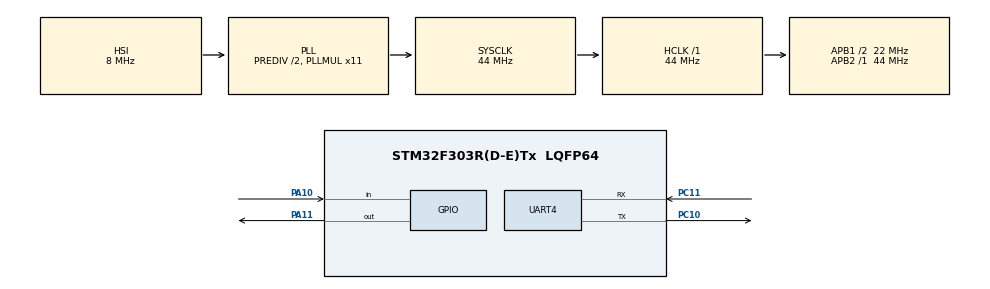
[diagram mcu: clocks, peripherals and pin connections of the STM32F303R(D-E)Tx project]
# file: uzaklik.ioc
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Mcu.Family=STM32F3
Mcu.Name=STM32F303R(D-E)Tx
Mcu.Package=LQFP64
NVIC.PriorityGroup=NVIC_PRIORITYGROUP_4
PA10.Signal=GPIO_Input
PA11.Signal=GPIO_Output
PA13.Signal=SYS_JTMS-SWDIO
PA14.Signal=SYS_JTCK-SWCLK
PB8.Signal=I2C1_SCL
PB9.Signal=I2C1_SDA
PC10.Mode=Asynchronous
PC10.Signal=UART4_TX
PC11.Mode=Asynchronous
PC11.Signal=UART4_RX
PF0-OSC_IN.Mode=HSE-External-Oscillator
PF0-OSC_IN.Signal=RCC_OSC_IN
PF1-OSC_OUT.Mode=HSE-External-Oscillator
PF1-OSC_OUT.Signal=RCC_OSC_OUT
ProjectManager.HeapSize=0x200
ProjectManager.StackSize=0x400
ProjectManager.TargetToolchain=STM32CubeIDE
RCC.AHBFreq_Value=44000000
RCC.APB1CLKDivider=RCC_HCLK_DIV2
RCC.APB1Freq_Value=22000000
RCC.APB1TimFreq_Value=44000000
RCC.APB2Freq_Value=44000000
RCC.APB2TimFreq_Value=44000000
RCC.CortexFreq_Value=44000000
RCC.HCLKFreq_Value=44000000
RCC.HSE_VALUE=8000000
RCC.HSI_VALUE=8000000
RCC.LSE_VALUE=32768
RCC.PLLDivider=RCC_PREDIV_DIV2
RCC.PLLMUL=RCC_PLL_MUL11
RCC.SYSCLKFreq_VALUE=44000000
RCC.SYSCLKSourceVirtual=RCC_SYSCLKSOURCE_PLLCLK
RCC.USBFreq_Value=44000000
board=custom

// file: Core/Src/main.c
/* USER CODE BEGIN Header */
/**
  ******************************************************************************
  * @file           : main.c
  * @brief          : Main program body
  ******************************************************************************
  * @attention
  *
  * Copyright (c) 2023 STMicroelectronics.
  * All rights reserved.
  *
  * This software is licensed under terms that can be found in the LICENSE file
  * in the root directory of this software component.
  * If no LICENSE file comes with this software, it is provided AS-IS.
  *
  ******************************************************************************
  */
/* USER CODE END Header */
#include "main.h"

/* USER CODE BEGIN Includes */
#include "stm32f3xx_hal_conf.h"
#include "dwt_stm32_delay.h"
/* USER CODE END Includes */

UART_HandleTypeDef huart4;

/* USER CODE BEGIN PV */

uint8_t distance;
uint8_t wlevel[3]={0,0,0};
/* USER CODE END PV */

void SystemClock_Config(void);
static void MX_GPIO_Init(void);
static void MX_UART4_Init(void);

/* USER CODE BEGIN 0 */
uint32_t sensor_time;

uint32_t Read_HCSR04()
{
	uint32_t local_time = 0;

	HAL_GPIO_WritePin(GPIOA, GPIO_PIN_11, GPIO_PIN_SET);		// pull the trig pin high
	DWT_Delay_us(10);										// wait for 10 us
	HAL_GPIO_WritePin(GPIOA, GPIO_PIN_11, GPIO_PIN_RESET);	// pull the trig pin low

	// wait for the echo pin to go high

	while(!(HAL_GPIO_ReadPin(GPIOA, GPIO_PIN_10)));

	while(HAL_GPIO_ReadPin(GPIOA, GPIO_PIN_10))				// while the pin is high
	{
		local_time++;										// increment local time
		DWT_Delay_us(1);									// every 1 us
	}

	return local_time * 2;
}
/* USER CODE END 0 */

int main(void)
{

  /* MCU Configuration--------------------------------------------------------*/

  /* Reset of all peripherals, Initializes the Flash interface and the Systick. */
  HAL_Init();

  /* Configure the system clock */
  SystemClock_Config();

  /* Initialize all configured peripherals */
  MX_GPIO_Init();
  MX_UART4_Init();
  /* USER CODE BEGIN 2 */
  DWT_Delay_Init();

  /* USER CODE END 2 */

  /* Infinite loop */
  while (1)
  {

      sensor_time = Read_HCSR04();			// get the high time
	  	  distance = sensor_time * .034 / 2;	// user the formula to get the distance

    if (distance<12){
    	wlevel[0]=0;
    }
    else if (distance<16){
    	wlevel[0]=1;
    }

    else if (distance<20){
        	wlevel[0]=2;
        }
    else if (distance<24){
        	wlevel[0]=3;
        }
    else{
    	wlevel[0]=4;
    }

	  	HAL_StatusTypeDef status = HAL_UART_Transmit (&huart4,wlevel, sizeof (wlevel), 10);

  }
}

void SystemClock_Config(void)
{
  RCC_OscInitTypeDef RCC_OscInitStruct = {0};
  RCC_ClkInitTypeDef RCC_ClkInitStruct = {0};
  RCC_PeriphCLKInitTypeDef PeriphClkInit = {0};

  /** Initializes the RCC Oscillators according to the specified parameters
  * in the RCC_OscInitTypeDef structure.
  */
  RCC_OscInitStruct.OscillatorType = RCC_OSCILLATORTYPE_HSI;
  RCC_OscInitStruct.HSIState = RCC_HSI_ON;
  RCC_OscInitStruct.HSICalibrationValue = RCC_HSICALIBRATION_DEFAULT;
  RCC_OscInitStruct.PLL.PLLState = RCC_PLL_ON;
  RCC_OscInitStruct.PLL.PLLSource = RCC_PLLSOURCE_HSI;
  RCC_OscInitStruct.PLL.PLLMUL = RCC_PLL_MUL11;
  RCC_OscInitStruct.PLL.PREDIV = RCC_PREDIV_DIV2;
  if (HAL_RCC_OscConfig(&RCC_OscInitStruct) != HAL_OK)
  {
    Error_Handler();
  }

  /** Initializes the CPU, AHB and APB buses clocks
  */
  RCC_ClkInitStruct.ClockType = RCC_CLOCKTYPE_HCLK|RCC_CLOCKTYPE_SYSCLK
                              |RCC_CLOCKTYPE_PCLK1|RCC_CLOCKTYPE_PCLK2;
  RCC_ClkInitStruct.SYSCLKSource = RCC_SYSCLKSOURCE_PLLCLK;
  RCC_ClkInitStruct.AHBCLKDivider = RCC_SYSCLK_DIV1;
  RCC_ClkInitStruct.APB1CLKDivider = RCC_HCLK_DIV2;
  RCC_ClkInitStruct.APB2CLKDivider = RCC_HCLK_DIV1;

  if (HAL_RCC_ClockConfig(&RCC_ClkInitStruct, FLASH_LATENCY_1) != HAL_OK)
  {
    Error_Handler();
  }
  PeriphClkInit.PeriphClockSelection = RCC_PERIPHCLK_UART4;
  PeriphClkInit.Uart4ClockSelection = RCC_UART4CLKSOURCE_PCLK1;
  if (HAL_RCCEx_PeriphCLKConfig(&PeriphClkInit) != HAL_OK)
  {
    Error_Handler();
  }
}

static void MX_UART4_Init(void)
{

  huart4.Instance = UART4;
  huart4.Init.BaudRate = 115200;
  huart4.Init.WordLength = UART_WORDLENGTH_8B;
  huart4.Init.StopBits = UART_STOPBITS_1;
  huart4.Init.Parity = UART_PARITY_NONE;
  huart4.Init.Mode = UART_MODE_TX_RX;
  huart4.Init.HwFlowCtl = UART_HWCONTROL_NONE;
  huart4.Init.OverSampling = UART_OVERSAMPLING_16;
  huart4.Init.OneBitSampling = UART_ONE_BIT_SAMPLE_DISABLE;
  huart4.AdvancedInit.AdvFeatureInit = UART_ADVFEATURE_NO_INIT;
  if (HAL_UART_Init(&huart4) != HAL_OK)
  {
    Error_Handler();
  }

}

static void MX_GPIO_Init(void)
{
  GPIO_InitTypeDef GPIO_InitStruct = {0};

  /* GPIO Ports Clock Enable */
  __HAL_RCC_GPIOF_CLK_ENABLE();
  __HAL_RCC_GPIOA_CLK_ENABLE();
  __HAL_RCC_GPIOC_CLK_ENABLE();
  __HAL_RCC_GPIOB_CLK_ENABLE();

  /*Configure GPIO pin Output Level */
  HAL_GPIO_WritePin(GPIOA, GPIO_PIN_11, GPIO_PIN_RESET);

  /*Configure GPIO pin : PA10 */
  GPIO_InitStruct.Pin = GPIO_PIN_10;
  GPIO_InitStruct.Mode = GPIO_MODE_INPUT;
  GPIO_InitStruct.Pull = GPIO_NOPULL;
  HAL_GPIO_Init(GPIOA, &GPIO_InitStruct);

  /*Configure GPIO pin : PA11 */
  GPIO_InitStruct.Pin = GPIO_PIN_11;
  GPIO_InitStruct.Mode = GPIO_MODE_OUTPUT_PP;
  GPIO_InitStruct.Pull = GPIO_NOPULL;
  GPIO_InitStruct.Speed = GPIO_SPEED_FREQ_LOW;
  HAL_GPIO_Init(GPIOA, &GPIO_InitStruct);

  /*Configure GPIO pins : PB8 PB9 */
  GPIO_InitStruct.Pin = GPIO_PIN_8|GPIO_PIN_9;
  GPIO_InitStruct.Mode = GPIO_MODE_AF_OD;
  GPIO_InitStruct.Pull = GPIO_NOPULL;
  GPIO_InitStruct.Speed = GPIO_SPEED_FREQ_HIGH;
  GPIO_InitStruct.Alternate = GPIO_AF4_I2C1;
  HAL_GPIO_Init(GPIOB, &GPIO_InitStruct);

}

void Error_Handler(void)
{
  __disable_irq();
  while (1)
  {
  }
}
